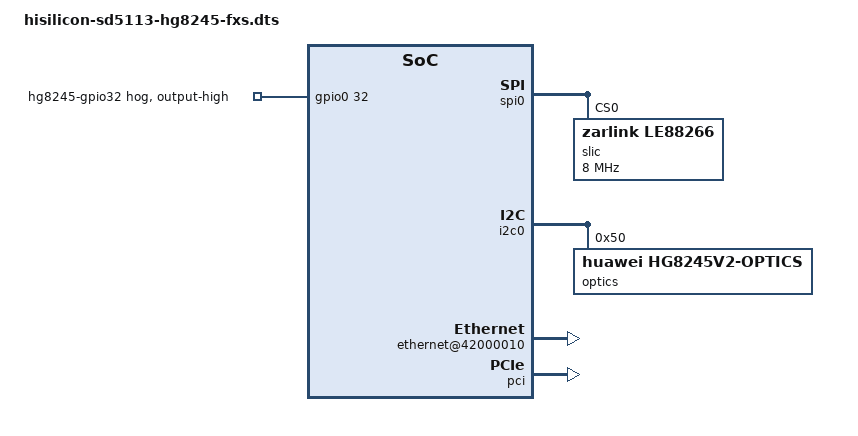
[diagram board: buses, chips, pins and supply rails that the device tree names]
// SPDX-License-Identifier: GPL-2.0-only
#include "hisilicon-sd5113-hg8245-spi.dts"
#include "hisilicon-sd5113-hg8245-i2c.dtsi"
#include "hisilicon-sd5113-hg8245-gpon-status.dtsi"

&{/chosen} {
	/* The combined initramfs exceeds tmpfs's default early-boot page limit. */
	bootargs = "earlycon console=ttyS0,115200n8 rootfstype=ramfs rdinit=/lib/hg8245/ram-init";
};

&gpio0 {
	hisilicon,debug-gpio-banks;

	/* HG8245V2 GPIO/Cfg79: needed for the SLIC to answer on MPI. */
	gpio32-high {
		gpio-hog;
		gpios = <32 GPIO_ACTIVE_HIGH>;
		output-high;
		line-name = "hg8245-gpio32";
	};
};

&spi0 {
	#address-cells = <1>;
	#size-cells = <0>;
	slic@0 {
		#sound-dai-cells = <0>;
		compatible = "zarlink,le88266";
		huawei,tel-ports-swapped;
		reg = <0>;
		spi-max-frequency = <8000000>;
		spi-cpol;
		spi-cpha;
		hisilicon,highway = <&voice_highway>;
	};
};
&{/soc} {
	voice_highway: highway@43a00000 {
		compatible = "hisilicon,sd5113-highway";
		reg = <0x43a00000 0x128>;
		hisilicon,crg = <&crg>;
	};
};
&i2c0 {
	#address-cells = <1>;
	#size-cells = <0>;
	optics@50 {
		compatible = "huawei,hg8245v2-optics";
		reg = <0x50>;
	};
};

&{/soc/gpon-rx@420000a0} {
	huawei,board-info = <&syspara>;
	hisilicon,crg = <&crg>;
	hisilicon,dp-irq-regs = <&{/soc/ethernet@42000010}>;
	interrupts = <25>;
	pon-gpios = <&gpio0 22 0>, <&gpio0 23 0>;
	compatible = "hisilicon,sd5113-gpon-burst", "hisilicon,sd5113-gpon-rx-queue",
		     "hisilicon,sd5113-gpon-rx-status";
	reg = <0x420000a0 4>, <0x4320000c 4>, <0x43200044 4>, <0x43200080 4>,
	      <0x43200034 4>, <0x43200084 4>, <0x43200038 12>, <0x43400028 4>,
	      <0x4340003c 4>, <0x43400040 20>, <0x42900008 4>, <0x42980100 256>,
	      <0x42900004 4>, <0x42980000 44>, <0x43400000 4>, <0x4340002c 8>,
	      <0x43380000 0x4000>, <0x42900000 4>, <0x43400004 0x20>,
	      <0x43200048 0x20>, <0x43400024 4>, <0x43300008 0x6c>;
	reg-names = "los", "lof", "ploam-rx", "ploam-crc-errors", "ploam-pending",
		    "ploam-dropped", "ploam-data", "pre-eqd", "timing-commit", "burst-format", "omci-ready", "omci-data",
		    "omci-send", "omci-out", "onu-id", "equalization-delay",
		    "downstream-gem", "omci-route", "ploam-tx", "tcont", "random-delay", "gem-crypto";
};

&{/soc/ethernet@42000010} {
	compatible = "hisilicon,sd5113-eth", "syscon";
	reg = <0x42000010 0x10>, <0x42100000 0xd8>, <0x42e00000 0x3c>,
	      <0x42c80000 0x4000>, <0x43188000 0x0e00>, <0x4318c000 0x100>,
	      <0x43190000 0x100>, <0x420000c8 4>, <0x43782000 0x4800>;
	reg-names = "glb", "cpurtx", "fe-cpu", "fe-mode", "fe-classifier",
		    "fe-policy", "fe-dest", "cpu-port-cfg", "fe-broadcast";
	hisilicon,restore-uboot-lan;
	status = "okay";
};

&pci {
	status = "okay";
};
